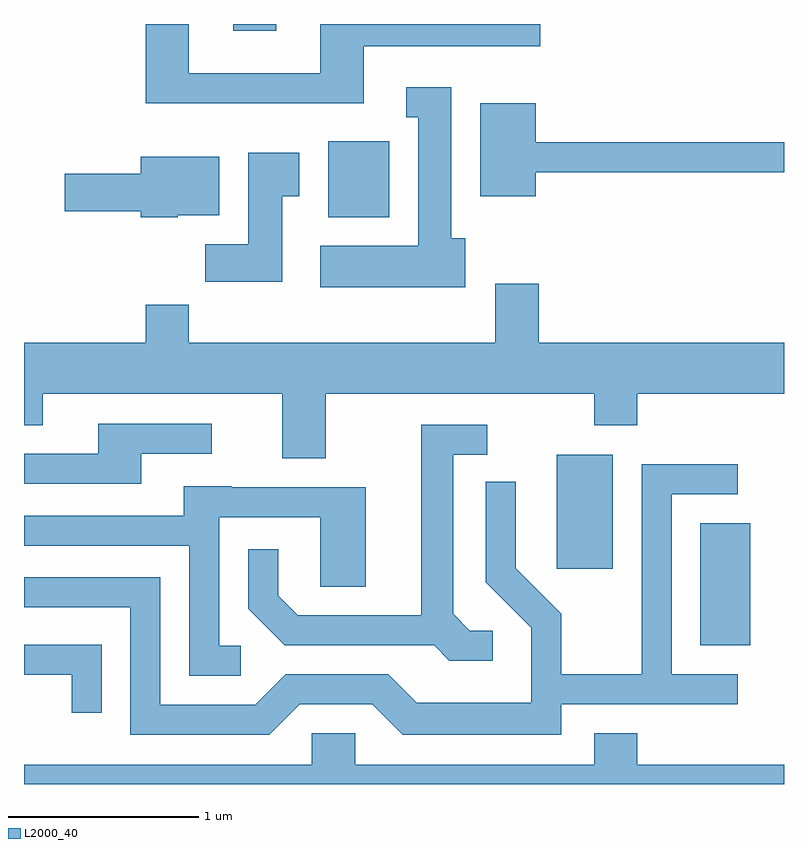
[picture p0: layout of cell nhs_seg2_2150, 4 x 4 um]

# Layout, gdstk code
import gdstk
lib = gdstk.Library(unit=1e-6, precision=1e-09)
def R(c, l, rs):  # rectangles x0, y0, x1, y1
    for r in rs: c.add(gdstk.rectangle(r[:2], r[2:], *l))
def P(c, l, *ps):  # polygons
    for p in ps: c.add(gdstk.Polygon(p, *l))
L2000_40 = (2000, 40)

nhs_seg2_2150 = lib.new_cell('nhs_seg2_2150')
R(nhs_seg2_2150, L2000_40, [(251.171,1062.531,251.434,1063.174), (250.416,1062.936,250.709,1063.534), (249.211,1064.786,249.534,1065.184), (248.711,1065.766,248.939,1065.802)])
P(nhs_seg2_2150, L2000_40, [(249.399,1065.686),(250.328,1065.686),(250.328,1065.802),(249.171,1065.802),(249.171,1065.544),(248.479,1065.544),(248.479,1065.802),(248.251,1065.802),(248.251,1065.386),(249.399,1065.386)],
  [(249.934,1064.674),(249.859,1064.674),(249.859,1065.469),(249.623,1065.469),(249.623,1065.311),(249.686,1065.311),(249.686,1064.634),(249.171,1064.634),(249.171,1064.416),(249.934,1064.416)],
  [(250.304,1065.021),(251.611,1065.021),(251.611,1065.179),(250.304,1065.179),(250.304,1065.384),(250.011,1065.384),(250.011,1064.896),(250.304,1064.896)],
  [(248.969,1064.896),(249.059,1064.896),(249.059,1065.124),(248.791,1065.124),(248.791,1064.644),(248.566,1064.644),(248.566,1064.446),(248.969,1064.446)],
  [(248.42,1064.796),(248.639,1064.796),(248.639,1065.104),(248.226,1065.104),(248.226,1065.014),(247.826,1065.014),(247.826,1064.816),(248.226,1064.816),(248.226,1064.786),(248.42,1064.786)],
  [(249.199,1063.856),(250.611,1063.856),(250.611,1063.691),(250.839,1063.691),(250.839,1063.856),(251.611,1063.856),(251.611,1064.124),(250.319,1064.124),(250.319,1064.434),(250.091,1064.434),(250.091,1064.124),(248.479,1064.124),(248.479,1064.324),(248.251,1064.324),(248.251,1064.124),(247.611,1064.124),(247.611,1063.691),(247.709,1063.691),(247.709,1063.856),(248.971,1063.856),(248.971,1063.516),(249.199,1063.516)],
  [(248.229,1063.541),(248.598,1063.541),(248.598,1063.699),(248.001,1063.699),(248.001,1063.539),(247.611,1063.539),(247.611,1063.381),(248.229,1063.381)],
  [(250.078,1062.609),(249.957,1062.609),(249.869,1062.697),(249.869,1063.536),(250.048,1063.536),(250.048,1063.694),(249.701,1063.694),(249.701,1062.689),(249.052,1062.689),(248.949,1062.792),(248.949,1063.038),(248.791,1063.038),(248.791,1062.724),(248.984,1062.531),(249.769,1062.531),(249.849,1062.451),(250.078,1062.451)],
  [(249.062,1062.221),(249.444,1062.221),(249.604,1062.061),(250.439,1062.061),(250.439,1062.221),(251.368,1062.221),(251.368,1062.379),(251.019,1062.379),(251.019,1063.326),(251.368,1063.326),(251.368,1063.484),(250.861,1063.484),(250.861,1062.379),(250.439,1062.379),(250.439,1062.697),(250.199,1062.937),(250.199,1063.393),(250.041,1063.393),(250.041,1062.864),(250.281,1062.624),(250.281,1062.229),(249.677,1062.229),(249.527,1062.379),(248.989,1062.379),(248.829,1062.219),(248.329,1062.219),(248.329,1062.889),(247.611,1062.889),(247.611,1062.731),(248.171,1062.731),(248.171,1062.061),(248.902,1062.061)],
  [(248.753,1062.529),(248.639,1062.529),(248.639,1063.206),(249.171,1063.206),(249.171,1062.841),(249.409,1062.841),(249.409,1063.364),(248.705,1063.364),(248.705,1063.369),(248.451,1063.369),(248.451,1063.214),(247.611,1063.214),(247.611,1063.056),(248.481,1063.056),(248.481,1062.371),(248.753,1062.371)],
  [(248.019,1062.534),(247.611,1062.534),(247.611,1062.376),(247.861,1062.376),(247.861,1062.178),(248.019,1062.178)],
  [(251.611,1061.904),(250.839,1061.904),(250.839,1062.069),(250.611,1062.069),(250.611,1061.904),(249.354,1061.904),(249.354,1062.069),(249.126,1062.069),(249.126,1061.904),(247.611,1061.904),(247.611,1061.802),(251.611,1061.802)])

lib.write_gds('nhs_seg2_2150.gds')
